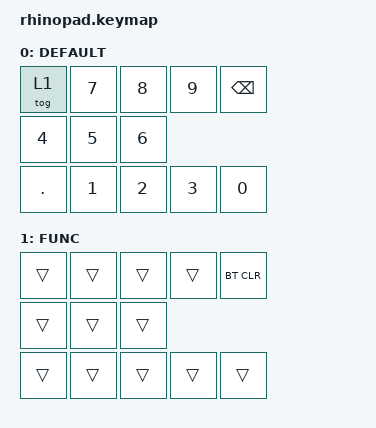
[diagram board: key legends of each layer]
#include <behaviors.dtsi>
#include <dt-bindings/zmk/keys.h>
#include <dt-bindings/zmk/bt.h>

/ {
    keymap: keymap {
        compatible = "zmk,keymap";

        default_layer {
            label = "DEFAULT";
            bindings = <
                &tog 1  &kp N7  &kp N8  &kp N9  &kp BSPC
                &kp N4     &kp N5  &kp N6
                &kp DOT    &kp N1  &kp N2  &kp N3  &kp N0
            >;
        };

        layer_1 {
            label = "FUNC";
            bindings = <
                &trans &trans &trans &trans &bt BT_CLR
                &trans &trans &trans
                &trans &trans &trans &trans &trans
            >;
        };
    };
};

